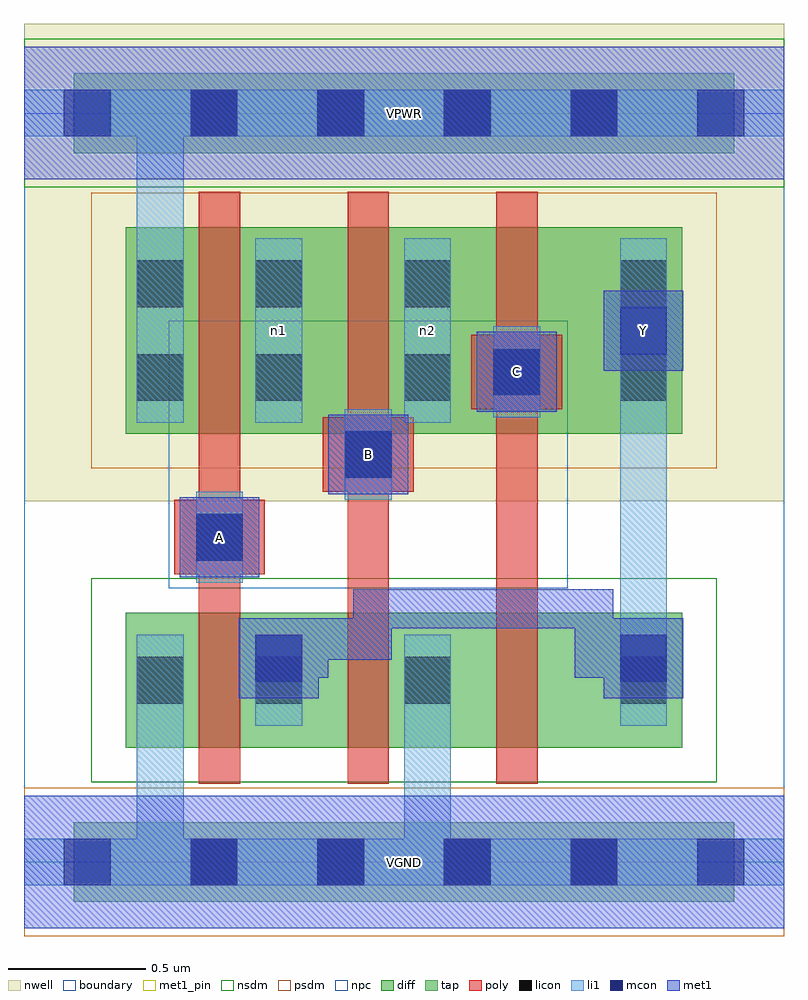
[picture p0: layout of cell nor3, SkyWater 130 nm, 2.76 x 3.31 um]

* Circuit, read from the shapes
.subckt nor3 A B C VGND VPWR Y n1 n2
XM1 Y A VGND VGND sky130_fd_pr__nfet_01v8 w=0.49 l=0.15
XM2 VGND B Y VGND sky130_fd_pr__nfet_01v8 w=0.49 l=0.15
XM3 Y C VGND VGND sky130_fd_pr__nfet_01v8 w=0.49 l=0.15
XM4 n1 A VPWR VPWR sky130_fd_pr__pfet_01v8 w=0.75 l=0.15
XM5 n2 B n1 VPWR sky130_fd_pr__pfet_01v8 w=0.84 l=0.1468
XM6 Y C n2 VPWR sky130_fd_pr__pfet_01v8 w=0.93 l=0.1732
.ends

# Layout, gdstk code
import gdstk
lib = gdstk.Library(unit=1e-6, precision=1e-09)
def R(c, l, rs):  # rectangles x0, y0, x1, y1
    for r in rs: c.add(gdstk.rectangle(r[:2], r[2:], *l))
def A(c, l, x, y, w, h, nx, ny, dx, dy):  # array of equal rectangles
    R(c, l, [(x+i*dx, y+j*dy, x+i*dx+w, y+j*dy+h) for i in range(nx) for j in range(ny)])
nwell = (64, 20)
diff = (65, 20)
tap = (65, 44)
poly = (66, 20)
licon = (66, 44)
li1 = (67, 20)
mcon = (67, 44)
met1_pin = (68, 16)
met1 = (68, 20)
nsdm = (93, 44)
psdm = (94, 20)
npc = (95, 20)
boundary = (235, 4)

nor3 = lib.new_cell('nor3')
R(nor3, nwell, [(0,1.31,2.76,3.045)])
R(nor3, diff, [(0.37,0.415,2.39,0.905), (0.37,1.555,2.39,2.305)])
R(nor3, tap, [(0.18,-0.145,2.58,0.145), (0.18,2.575,2.58,2.865)])
A(nor3, poly, 0.635, 0.285, 0.15, 2.15, 3, 1, 0.54, 0)
R(nor3, poly, [(0.545,1.045,0.875,1.315), (1.085,1.345,1.415,1.615), (1.625,1.645,1.955,1.915)])
A(nor3, licon, 0.605, -0.085, 0.17, 0.17, 4, 2, 0.46, 2.72)
R(nor3, licon, [(0.41,0.575,0.58,0.745), (0.84,0.575,1.01,0.745), (1.38,0.575,1.55,0.745), (2.165,0.575,2.335,0.745), (0.625,1.095,0.795,1.265), (1.165,1.395,1.335,1.565), (0.41,1.675,0.58,1.845), (0.84,1.675,1.01,1.845), (1.38,1.675,1.55,1.845), (2.165,1.675,2.335,1.845), (1.705,1.695,1.875,1.865), (0.41,2.015,0.58,2.185), (0.84,2.015,1.01,2.185), (1.38,2.015,1.55,2.185), (2.165,2.015,2.335,2.185)])
R(nor3, li1, [(0,-0.085,2.76,0.085), (0.41,-0.085,0.58,0.825), (1.38,-0.085,1.55,0.825), (0.41,0.495,0.58,0.825), (0.84,0.495,1.01,0.825), (1.38,0.495,1.55,0.825), (2.165,0.495,2.335,0.825), (2.165,0.495,2.335,2.265), (0.625,1.015,0.795,1.345), (1.165,1.315,1.335,1.645), (0.41,1.595,0.58,2.265), (0.41,1.595,0.58,2.805), (0.84,1.595,1.01,2.265), (1.38,1.595,1.55,2.265), (2.165,1.595,2.335,2.265), (1.705,1.615,1.875,1.945), (0,2.635,2.76,2.805)])
A(nor3, mcon, 0.145, -0.085, 0.17, 0.17, 6, 2, 0.46, 2.72)
R(nor3, mcon, [(0.84,0.655,1.01,0.825), (2.165,0.655,2.335,0.825), (0.625,1.095,0.795,1.265), (1.165,1.395,1.335,1.565), (1.705,1.695,1.875,1.865), (2.165,1.845,2.335,2.015)])
R(nor3, met1_pin, [(0,-0.24,2.76,0.24), (0.565,1.035,0.855,1.325), (1.105,1.335,1.395,1.625), (1.645,1.635,1.935,1.925), (2.105,1.785,2.395,2.075), (0,2.48,2.76,2.96)])
R(nor3, met1, [(0,-0.24,2.76,0.24), (0.78,0.595,1.07,0.885), (2.105,0.595,2.395,0.885), (0.855,0.67,1.105,0.81), (0.965,0.67,1.105,0.875), (2,0.67,2.32,0.81), (2,0.67,2.14,0.99), (0.965,0.735,1.335,0.875), (1.07,0.735,1.195,0.885), (1.195,0.735,1.335,0.99), (1.07,0.85,1.195,0.885), (1.195,0.85,2.14,0.99), (0.565,1.035,0.855,1.325), (1.105,1.335,1.395,1.625), (1.645,1.635,1.935,1.925), (2.105,1.785,2.395,2.075), (0,2.48,2.76,2.96)])
R(nor3, nsdm, [(0.245,0.29,2.515,1.03), (0,2.45,2.76,2.99)])
R(nor3, psdm, [(0,-0.27,2.76,0.27), (0.245,1.43,2.515,2.43)])
R(nor3, npc, [(0.525,0.995,1.975,1.965)])
R(nor3, boundary, [(0,0,2.76,2.72)])
nor3.add(gdstk.Label('n1', (0.925,1.93), layer=67, texttype=5))
nor3.add(gdstk.Label('n2', (1.465,1.93), layer=67, texttype=5))
nor3.add(gdstk.Label('A', (0.71,1.18), layer=68, texttype=5))
nor3.add(gdstk.Label('B', (1.25,1.48), layer=68, texttype=5))
nor3.add(gdstk.Label('C', (1.79,1.78), layer=68, texttype=5))
nor3.add(gdstk.Label('Y', (2.25,1.93), layer=68, texttype=5))
nor3.add(gdstk.Label('VPWR', (1.38,2.72), layer=68, texttype=5))
nor3.add(gdstk.Label('VGND', (1.38,0), layer=68, texttype=5))
nor3.add(gdstk.Label('A', (0.71,1.18), layer=68, texttype=16))
nor3.add(gdstk.Label('B', (1.25,1.48), layer=68, texttype=16))
nor3.add(gdstk.Label('C', (1.79,1.78), layer=68, texttype=16))
nor3.add(gdstk.Label('Y', (2.25,1.93), layer=68, texttype=16))
nor3.add(gdstk.Label('VPWR', (1.38,2.72), layer=68, texttype=16))
nor3.add(gdstk.Label('VGND', (1.38,0), layer=68, texttype=16))

lib.write_gds('nor3.gds')
